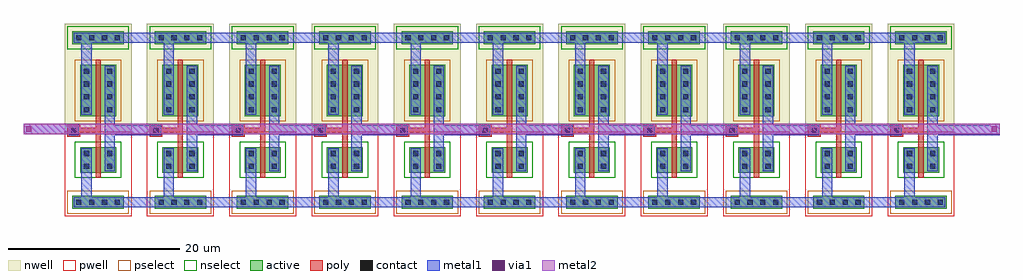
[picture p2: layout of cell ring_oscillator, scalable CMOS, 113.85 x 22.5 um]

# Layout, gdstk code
import gdstk
lib = gdstk.Library(unit=1e-6, precision=1e-09)
def R(c, l, rs):  # rectangles x0, y0, x1, y1
    for r in rs: c.add(gdstk.rectangle(r[:2], r[2:], *l))
def A(c, l, x, y, w, h, nx, ny, dx, dy):  # array of equal rectangles
    R(c, l, [(x+i*dx, y+j*dy, x+i*dx+w, y+j*dy+h) for i in range(nx) for j in range(ny)])
contact = (25, 0)
pwell = (41, 0)
nwell = (42, 0)
active = (43, 0)
pselect = (44, 0)
nselect = (45, 0)
poly = (46, 0)
metal1 = (49, 0)
via1 = (50, 0)
metal2 = (51, 0)

inv_20_10 = lib.new_cell('inv_20_10')
A(inv_20_10, contact, -2.55, -8.85, 0.6, 0.6, 4, 2, 1.5, 19.2)
A(inv_20_10, contact, -1.65, 1.95, 0.6, 0.6, 1, 4, 0, 1.5)
A(inv_20_10, contact, 1.05, 1.95, 0.6, 0.6, 1, 4, 0, 1.5)
R(inv_20_10, contact, [(-1.65,-4.65,-1.05,-4.05), (1.05,-4.65,1.65,-4.05), (-1.65,-3.15,-1.05,-2.55), (1.05,-3.15,1.65,-2.55), (-3.15,-0.45,-2.55,0.15)])
R(inv_20_10, pwell, [(-3.9,-10.2,3.9,-6.9), (-3.9,-6.9,1.2,-0.3), (-3,-6.9,3,-0.3), (-1.2,-6.9,3.9,-0.3), (-3.75,-5.85,1.125,-1.35), (-1.125,-5.85,3.75,-1.35)])
R(inv_20_10, nwell, [(-3.9,-0.3,1.2,9.3), (-3,-0.3,3,9.3), (-1.2,-0.3,3.9,9.3), (-3.75,2.25,1.125,6.75), (-1.125,2.25,3.75,6.75), (-3.9,9,3.9,12.3)])
R(inv_20_10, active, [(-3,-9.3,3,-7.8), (-2.1,-5.1,-0.6,-2.1), (-1.2,-5.1,1.2,-2.1), (0.6,-5.1,2.1,-2.1), (-1.95,-4.05,-0.675,-3.15), (0.675,-4.05,1.95,-3.15), (-2.1,1.5,-0.6,7.5), (-1.2,1.5,1.2,7.5), (0.6,1.5,2.1,7.5), (-1.95,4.05,-0.675,4.95), (0.675,4.05,1.95,4.95), (-3,9.9,3,11.4)])
R(inv_20_10, pselect, [(-3.6,-9.9,3.6,-7.2), (-2.7,0.9,0,8.1), (-1.8,0.9,1.8,8.1), (0,0.9,2.7,8.1), (-2.55,3.45,-0.075,5.55), (0.075,3.45,2.55,5.55)])
R(inv_20_10, nselect, [(-2.7,-5.7,0,-1.5), (-1.8,-5.7,1.8,-1.5), (0,-5.7,2.7,-1.5), (-2.55,-4.65,-0.075,-2.55), (0.075,-4.65,2.55,-2.55), (-3.6,9.3,3.6,12)])
R(inv_20_10, poly, [(-0.3,-5.7,0.3,-1.5), (-0.3,-1.8,0.3,0.15), (-3.6,-0.9,-2.1,0.6), (-3.15,-0.45,0.3,0.15), (-0.3,-0.45,0.3,1.2), (-0.3,0.9,0.3,8.1)])
R(inv_20_10, metal1, [(-2.85,-9.15,2.85,-7.95), (-1.95,-9.15,-0.75,-3), (-1.95,-4.95,-0.75,-2.25), (0.75,-4.95,1.95,-2.25), (0.75,-4.2,1.95,0.45), (-3.45,-0.75,-2.25,0.45), (0.75,-0.75,1.95,5.1), (0.75,-0.75,3.6,0.45), (-1.95,1.65,-0.75,7.35), (0.75,1.65,1.95,7.35), (-1.95,3.9,-0.75,11.25), (-2.85,10.05,2.85,11.25)])

ring_oscillator = lib.new_cell('ring_oscillator')
A(ring_oscillator, metal1, -0.6, -10.2, 10.8, 1.2, 10, 2, 9.6, 19.2)
A(ring_oscillator, metal1, 2.4, -1.8, 4.95, 1.2, 10, 1, 9.6, 0)
R(ring_oscillator, metal1, [(98.4,-1.8,105.15,-0.6), (103.95,-1.8,105.15,-0.45), (-8.7,-1.65,-7.5,-0.45), (-8.7,-1.65,-2.25,-0.45), (103.95,-1.65,105.15,-0.45)])
R(ring_oscillator, via1, [(-8.4,-1.35,-7.8,-0.75), (104.25,-1.35,104.85,-0.75)])
R(ring_oscillator, metal2, [(-8.7,-1.65,-7.5,-0.45), (-8.7,-1.65,105.15,-0.45), (103.95,-1.65,105.15,-0.45)])
ring_oscillator.add(gdstk.Reference(inv_20_10, (0,-1.05)))
ring_oscillator.add(gdstk.Reference(inv_20_10, (9.6,-1.05)))
ring_oscillator.add(gdstk.Reference(inv_20_10, (19.2,-1.05)))
ring_oscillator.add(gdstk.Reference(inv_20_10, (28.8,-1.05)))
ring_oscillator.add(gdstk.Reference(inv_20_10, (38.4,-1.05)))
ring_oscillator.add(gdstk.Reference(inv_20_10, (48,-1.05)))
ring_oscillator.add(gdstk.Reference(inv_20_10, (57.6,-1.05)))
ring_oscillator.add(gdstk.Reference(inv_20_10, (67.2,-1.05)))
ring_oscillator.add(gdstk.Reference(inv_20_10, (76.8,-1.05)))
ring_oscillator.add(gdstk.Reference(inv_20_10, (86.4,-1.05)))
ring_oscillator.add(gdstk.Reference(inv_20_10, (96,-1.05)))

lib.write_gds('ring_oscillator.gds')
